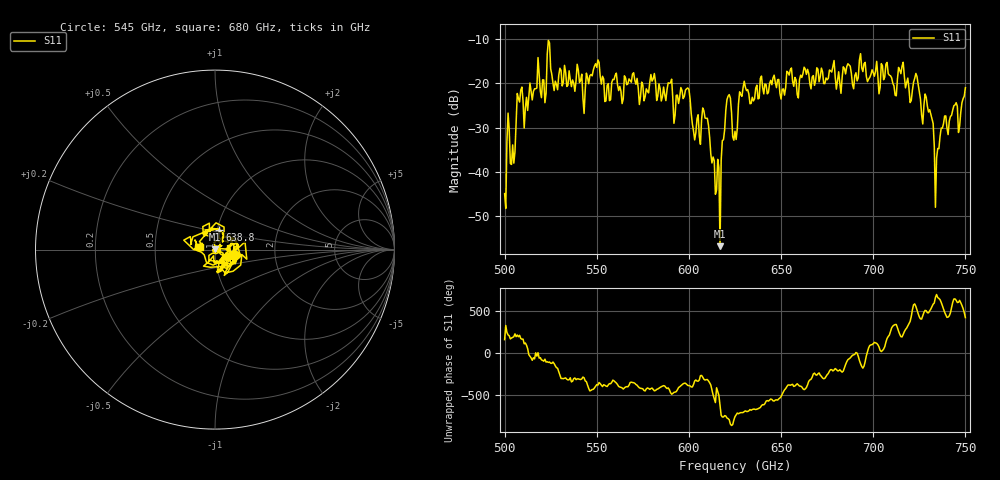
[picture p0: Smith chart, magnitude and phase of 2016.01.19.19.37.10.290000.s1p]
!Created with skrf (http://scikit-rf.org).
# GHz S RI R 50.0
!freq ReS11 ImS11
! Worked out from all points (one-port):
!   401 points, 500 GHz to 750 GHz, reference 50 ohm
!   lowest |S11| = -56.8 dB at 616.9 GHz (marker M1), VSWR 1.00, Z = 50 + j0.141 ohm
!   |S11| at or under -10 dB: start of sweep to end of sweep
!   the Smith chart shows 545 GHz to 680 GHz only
!   S11 on the Smith chart (normalised r, x): 545 GHz: 1.25, -0.08; 638.8 GHz: 1.02, +0.23; 680 GHz: 0.84, +0.03
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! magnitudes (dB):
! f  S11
! 500 GHz  -44.9
! 502.5 GHz  -30.5
! 504.4 GHz  -33.9
! 508.1 GHz  -24.2
! 521.2 GHz  -19.2
! 524.4 GHz  -10.8
! 527.5 GHz  -19.5
! 531.2 GHz  -20.6
! 545 GHz  -18.7
! 562.5 GHz  -20.7
! 593.8 GHz  -22.6
! 599.4 GHz  -21.0
! 603.1 GHz  -32.8
! 608.8 GHz  -27.8
! 615.6 GHz  -37.1
! 616.9 GHz  -56.8
! 621.2 GHz  -22.9
! 625 GHz  -30.8
! 628.8 GHz  -22.9
! 638.8 GHz  -18.8
! 656.2 GHz  -19.5
! 680 GHz  -21.3
! 687.5 GHz  -16.1
! 718.8 GHz  -18.8
! 729.4 GHz  -25.1
! 734.4 GHz  -36.8
! 738.1 GHz  -29.1
! 750 GHz  -21.0
